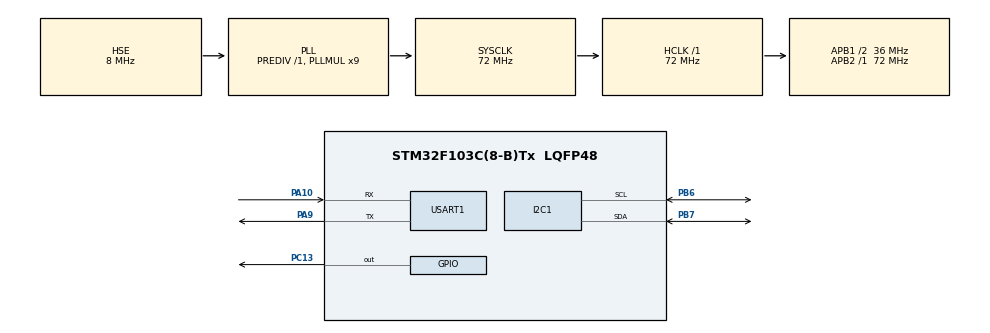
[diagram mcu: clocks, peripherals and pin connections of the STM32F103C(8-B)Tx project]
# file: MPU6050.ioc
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Dma.Request0=USART1_RX
Dma.Request1=USART1_TX
Dma.USART1_RX.0.Direction=DMA_PERIPH_TO_MEMORY
Dma.USART1_RX.0.Instance=DMA1_Channel5
Dma.USART1_RX.0.MemDataAlignment=DMA_MDATAALIGN_BYTE
Dma.USART1_RX.0.MemInc=DMA_MINC_ENABLE
Dma.USART1_RX.0.Mode=DMA_NORMAL
Dma.USART1_RX.0.PeriphDataAlignment=DMA_PDATAALIGN_BYTE
Dma.USART1_RX.0.PeriphInc=DMA_PINC_DISABLE
Dma.USART1_RX.0.Priority=DMA_PRIORITY_LOW
Dma.USART1_TX.1.Direction=DMA_MEMORY_TO_PERIPH
Dma.USART1_TX.1.Instance=DMA1_Channel4
Dma.USART1_TX.1.MemDataAlignment=DMA_MDATAALIGN_BYTE
Dma.USART1_TX.1.MemInc=DMA_MINC_ENABLE
Dma.USART1_TX.1.Mode=DMA_NORMAL
Dma.USART1_TX.1.PeriphDataAlignment=DMA_PDATAALIGN_BYTE
Dma.USART1_TX.1.PeriphInc=DMA_PINC_DISABLE
Dma.USART1_TX.1.Priority=DMA_PRIORITY_LOW
Mcu.Family=STM32F1
Mcu.Name=STM32F103C(8-B)Tx
Mcu.Package=LQFP48
NVIC.DMA1_Channel4_IRQn=true\:0\:0\:false\:false\:true\:false\:true\:true
NVIC.DMA1_Channel5_IRQn=true\:0\:0\:false\:false\:true\:false\:true\:true
NVIC.PriorityGroup=NVIC_PRIORITYGROUP_4
NVIC.USART1_IRQn=true\:0\:0\:false\:false\:true\:true\:true\:true
PA10.Mode=Asynchronous
PA10.Signal=USART1_RX
PA13.Mode=Serial_Wire
PA13.Signal=SYS_JTMS-SWDIO
PA14.Mode=Serial_Wire
PA14.Signal=SYS_JTCK-SWCLK
PA9.Mode=Asynchronous
PA9.Signal=USART1_TX
PB6.Mode=I2C
PB6.Signal=I2C1_SCL
PB7.Mode=I2C
PB7.Signal=I2C1_SDA
PC13-TAMPER-RTC.PinState=GPIO_PIN_SET
PC13-TAMPER-RTC.Signal=GPIO_Output
PD0-OSC_IN.Mode=HSE-External-Oscillator
PD0-OSC_IN.Signal=RCC_OSC_IN
PD1-OSC_OUT.Mode=HSE-External-Oscillator
PD1-OSC_OUT.Signal=RCC_OSC_OUT
ProjectManager.HeapSize=0x200
ProjectManager.StackSize=0x400
ProjectManager.TargetToolchain=CMake
RCC.AHBFreq_Value=72000000
RCC.APB1CLKDivider=RCC_HCLK_DIV2
RCC.APB1Freq_Value=36000000
RCC.APB1TimFreq_Value=72000000
RCC.APB2Freq_Value=72000000
RCC.APB2TimFreq_Value=72000000
RCC.HCLKFreq_Value=72000000
RCC.PLLMUL=RCC_PLL_MUL9
RCC.PLLSourceVirtual=RCC_PLLSOURCE_HSE
RCC.SYSCLKFreq_VALUE=72000000
RCC.SYSCLKSource=RCC_SYSCLKSOURCE_PLLCLK
RCC.USBFreq_Value=72000000
USART1.VirtualMode=VM_ASYNC
board=custom

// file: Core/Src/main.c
/* USER CODE BEGIN Header */
/**
  ******************************************************************************
  * @file           : main.c
  * @brief          : Main program body
  ******************************************************************************
  * @attention
  *
  * Copyright (c) 2026 STMicroelectronics.
  * All rights reserved.
  *
  * This software is licensed under terms that can be found in the LICENSE file
  * in the root directory of this software component.
  * If no LICENSE file comes with this software, it is provided AS-IS.
  *
  ******************************************************************************
  */
/* USER CODE END Header */
#include "main.h"
#include "dma.h"
#include "i2c.h"
#include "usart.h"
#include "gpio.h"

/* USER CODE BEGIN Includes */
#include <MPU6050.h>
#include <stdio.h>
#include <string.h>
/* USER CODE END Includes */

/* USER CODE BEGIN PV */
static float  gcc[3];
static float  gyro[3];
static float  temp;
static float  euler[3];
static char   message[100];
/* USER CODE END PV */

void SystemClock_Config(void);

/* USER CODE BEGIN 0 */
void HAL_UARTEx_RxEventCallback(UART_HandleTypeDef *huart, uint16_t Size)
{

}
/* USER CODE END 0 */

int main(void)
{

  /* MCU Configuration--------------------------------------------------------*/

  /* Reset of all peripherals, Initializes the Flash interface and the Systick. */
  HAL_Init();

  /* Configure the system clock */
  SystemClock_Config();

  /* Initialize all configured peripherals */
  MX_GPIO_Init();
  MX_DMA_Init();
  MX_I2C1_Init();
  MX_USART1_UART_Init();
  /* USER CODE BEGIN 2 */
  MPU6050_Init(&hi2c1);
  /* USER CODE END 2 */

  /* Infinite loop */
  /* USER CODE BEGIN WHILE */
  while (1)
  {
    MPU6050_Result(gcc,gyro,&temp,euler);

    if (huart1.gState == HAL_UART_STATE_READY)
    {
      sprintf(message,"Roll:%.2f Pitch:%.2f Yaw:%.2f Temp:%.2f\r\n\r\n",
                      euler[0],euler[1],euler[2],temp);
      HAL_UART_Transmit_DMA(&huart1,(uint8_t*)message,strlen(message));
    }
    HAL_Delay(500);
    /* USER CODE END WHILE */

  }
}

void SystemClock_Config(void)
{
  RCC_OscInitTypeDef RCC_OscInitStruct = {0};
  RCC_ClkInitTypeDef RCC_ClkInitStruct = {0};

  /** Initializes the RCC Oscillators according to the specified parameters
  * in the RCC_OscInitTypeDef structure.
  */
  RCC_OscInitStruct.OscillatorType = RCC_OSCILLATORTYPE_HSE;
  RCC_OscInitStruct.HSEState = RCC_HSE_ON;
  RCC_OscInitStruct.HSEPredivValue = RCC_HSE_PREDIV_DIV1;
  RCC_OscInitStruct.HSIState = RCC_HSI_ON;
  RCC_OscInitStruct.PLL.PLLState = RCC_PLL_ON;
  RCC_OscInitStruct.PLL.PLLSource = RCC_PLLSOURCE_HSE;
  RCC_OscInitStruct.PLL.PLLMUL = RCC_PLL_MUL9;
  if (HAL_RCC_OscConfig(&RCC_OscInitStruct) != HAL_OK)
  {
    Error_Handler();
  }

  /** Initializes the CPU, AHB and APB buses clocks
  */
  RCC_ClkInitStruct.ClockType = RCC_CLOCKTYPE_HCLK|RCC_CLOCKTYPE_SYSCLK
                              |RCC_CLOCKTYPE_PCLK1|RCC_CLOCKTYPE_PCLK2;
  RCC_ClkInitStruct.SYSCLKSource = RCC_SYSCLKSOURCE_PLLCLK;
  RCC_ClkInitStruct.AHBCLKDivider = RCC_SYSCLK_DIV1;
  RCC_ClkInitStruct.APB1CLKDivider = RCC_HCLK_DIV2;
  RCC_ClkInitStruct.APB2CLKDivider = RCC_HCLK_DIV1;

  if (HAL_RCC_ClockConfig(&RCC_ClkInitStruct, FLASH_LATENCY_2) != HAL_OK)
  {
    Error_Handler();
  }
}

void Error_Handler(void)
{
  __disable_irq();
  while (1)
  {
  }
}
